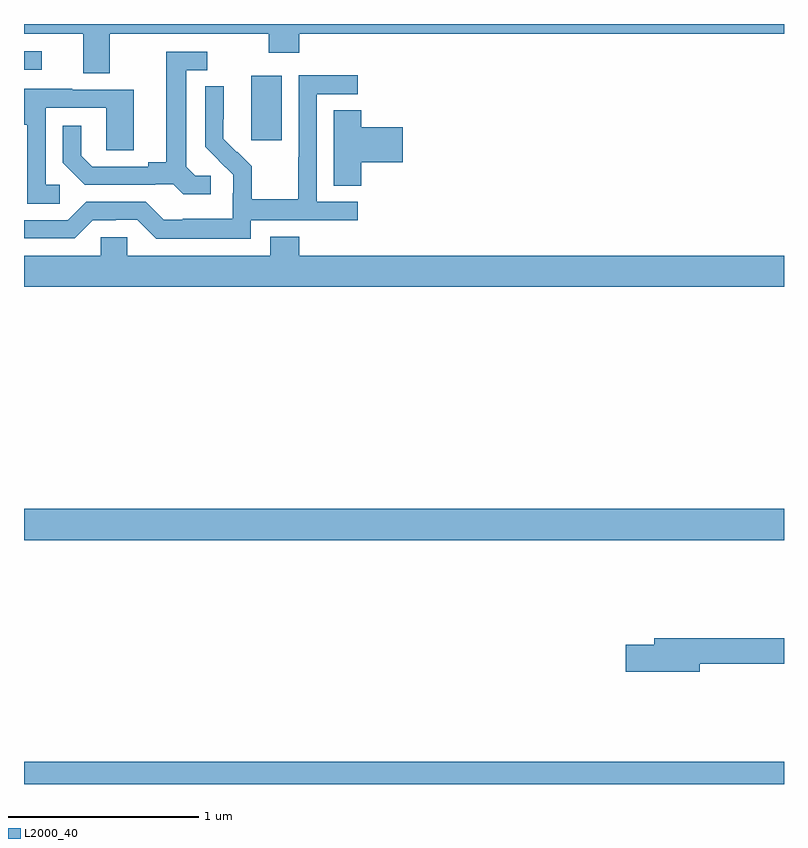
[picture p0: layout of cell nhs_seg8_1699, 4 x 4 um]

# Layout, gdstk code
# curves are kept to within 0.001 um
import gdstk
lib = gdstk.Library(unit=1e-6, precision=1e-09)
def R(c, l, rs):  # rectangles x0, y0, x1, y1
    for r in rs: c.add(gdstk.rectangle(r[:2], r[2:], *l))
def P(c, l, *ps):  # polygons
    for p in ps: c.add(gdstk.Polygon(p, *l))
L2000_40 = (2000, 40)

nhs_seg8_1699 = lib.new_cell('nhs_seg8_1699')
R(nhs_seg8_1699, L2000_40, [(219,1097.9,223,1098.016), (219,1099.184,223,1099.348), (220.196,1101.288,220.357,1101.628), (219,1101.66,219.094,1101.756)])
P(nhs_seg8_1699, L2000_40, [(219.451,1101.848),(220.288,1101.848),(220.288,1101.749),(220.448,1101.749),(220.448,1101.848),(223,1101.848),(223,1101.9),(219,1101.9),(219,1101.848),(219.311,1101.848),(219.311,1101.64),(219.451,1101.64)],
  [(219.982,1101.102),(219.9,1101.102),(219.853,1101.149),(219.853,1101.657),(219.964,1101.657),(219.964,1101.753),(219.749,1101.753),(219.749,1101.173),(219.653,1101.173),(219.653,1101.15),(219.358,1101.15),(219.301,1101.207),(219.301,1101.364),(219.204,1101.364),(219.204,1101.17),(219.32,1101.054),(219.692,1101.054),(219.692,1101.057),(219.786,1101.057),(219.838,1101.005),(219.982,1101.005)],
  [(220.194,1100.868),(220.756,1100.868),(220.756,1100.964),(220.542,1100.964),(220.542,1101.531),(220.756,1101.531),(220.756,1101.63),(220.446,1101.63),(220.446,1101.2),(220.444,1101.2),(220.444,1100.977),(220.199,1100.977),(220.199,1101.151),(220.122,1101.228),(220.119,1101.225),(220.049,1101.296),(220.049,1101.4),(220.051,1101.4),(220.051,1101.572),(219.954,1101.572),(219.954,1101.254),(220.1,1101.106),(220.1,1101.009),(220.098,1101.009),(220.098,1100.875),(219.835,1100.875),(219.835,1100.871),(219.735,1100.871),(219.642,1100.964),(219.327,1100.964),(219.231,1100.868),(219,1100.868),(219,1100.772),(219.267,1100.772),(219.363,1100.868),(219.482,1100.868),(219.482,1100.871),(219.597,1100.871),(219.697,1100.771),(220.194,1100.771)],
  [(219.187,1101.054),(219.114,1101.054),(219.114,1101.459),(219.432,1101.459),(219.432,1101.235),(219.577,1101.235),(219.577,1101.555),(219.253,1101.555),(219.253,1101.559),(219,1101.559),(219,1101.369),(219.018,1101.369),(219.018,1100.953),(219.187,1100.953)],
  [(220.775,1101.173),(220.993,1101.173),(220.993,1101.356),(220.775,1101.356),(220.775,1101.446),(220.631,1101.446),(220.631,1101.049),(220.775,1101.049)],
  [(223,1100.68),(220.448,1100.68),(220.448,1100.779),(220.295,1100.779),(220.295,1100.68),(219.543,1100.68),(219.543,1100.778),(219.405,1100.778),(219.405,1100.68),(219,1100.68),(219,1100.516),(223,1100.516)],
  [(222.556,1098.532),(223,1098.532),(223,1098.668),(222.317,1098.668),(222.317,1098.632),(222.168,1098.632),(222.168,1098.49),(222.556,1098.49)])

lib.write_gds('nhs_seg8_1699.gds')
